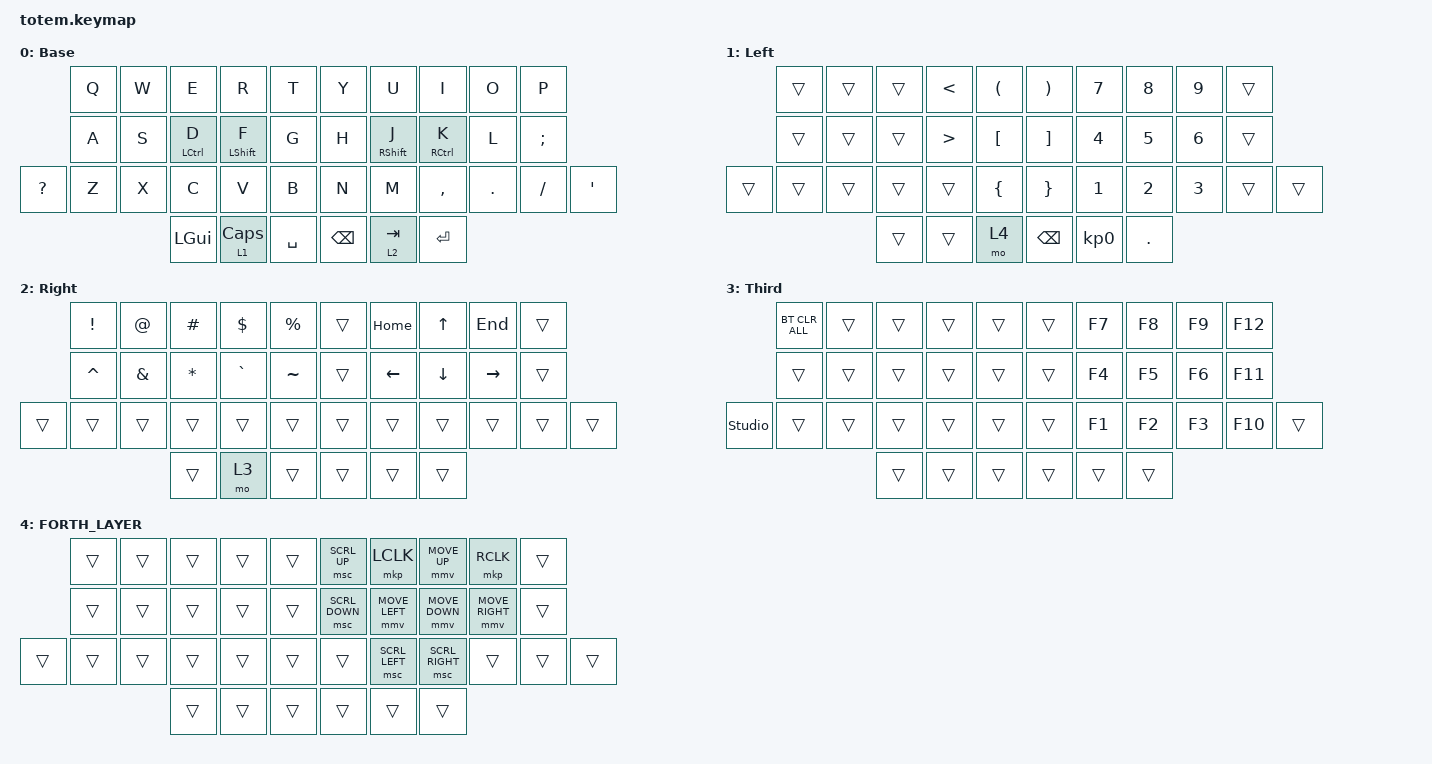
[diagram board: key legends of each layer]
//
//                                                        ▀▀▀▀▀     ▀▀▀▀▀          ▀▀█▀▀
//                                                        ▄▀▀▀▄  ▄  ▄▀▀▀▄  ▄  ▄▀▀▀▄  █  ▄▀▀▀▄
//                                                        █   █  █  █   █  █  █   █  █  █   █
//                                                         ▀▀▀   █   ▀▀▀   █   ▀▀▀   ▀   ▀▀▀
//                                                               █      ▄▄▄█▄▄▄    █   █  
//                                                               ▀      █  █  █     █▄█
//                                                             ▀▀▀▀▀    █  █  █      ▀
//                                                                      ▀  ▀  ▀
//
// ▄▄▄▄▄▄▄▄▄▄▄▄▄▄▄▄▄▄▄▄▄▄▄▄▄▄▄▄▄▄▄▄▄▄▄▄▄▄▄▄▄▄▄▄▄▄▄▄▄▄▄▄▄▄▄▄▄▄▄▄▄▄▄▄▄▄▄▄▄▄▄▄▄▄▄▄▄▄▄▄▄▄▄▄▄▄▄▄▄▄▄▄▄▄▄▄▄▄▄▄▄▄▄▄▄▄▄▄▄▄▄▄▄▄▄▄▄▄▄▄▄▄▄▄▄▄▄▄▄▄▄▄▄▄▄▄▄▄▄▄▄▄▄▄▄▄▄▄▄

#include <behaviors.dtsi>
#include <dt-bindings/zmk/bt.h>
#include <dt-bindings/zmk/keys.h>
#include <dt-bindings/zmk/pointing.h>

#define BASE 0
#define NAV  1
#define SYM  2
#define ADJ  3

&mt {
    quick-tap-ms = <150>;
    global-quick-tap;
    flavor = "balanced";
    tapping-term-ms = <250>;
    require-prior-idle-ms = <150>;
};

/ {
    combos {
        compatible = "zmk,combos";

        combo_esc {
            timeout-ms = <50>;
            key-positions = <2 1>;
            bindings = <&kp ESC>;
            layers = <0>;
        };

        combo_ctl_c {
            bindings = <&kp LC(C)>;
            key-positions = <3 2>;
            layers = <0>;
        };

        combo_ctl_x {
            bindings = <&kp LC(X)>;
            key-positions = <13 12>;
            layers = <0>;
        };

        combo_ctl_v {
            bindings = <&kp LC(V)>;
            key-positions = <24 23>;
            layers = <0>;
        };

        cb_numpad_equal {
            bindings = <&kp EQUAL>;
            key-positions = <27 28>;
            layers = <1>;
        };

        cb_numpad_plus {
            bindings = <&kp PLUS>;
            key-positions = <6 7>;
            layers = <1>;
        };

        cb_numpad_minus {
            bindings = <&kp MINUS>;
            key-positions = <16 17>;
            layers = <1>;
        };

        cb_numpad_multiply {
            bindings = <&kp ASTERISK>;
            key-positions = <7 8>;
            layers = <1>;
        };

        cb_numpad_divide {
            bindings = <&kp SLASH>;
            key-positions = <17 18>;
            layers = <1>;
        };
    };

    macros {
        gif: gif {
            label = "giphy";
            compatible = "zmk,behavior-macro";
            #binding-cells = <0>;
            bindings =
                <&macro_press>,
                <&kp LSHFT>,
                <&macro_tap>,
                <&kp N2>,
                <&macro_release>,
                <&kp LSHFT>,
                <&macro_tap>,
                <&kp G &kp I &kp F>;
        };
    };

    keymap {
        compatible = "zmk,keymap";

        // ▄▄▄▄▄▄▄▄▄▄▄▄▄▄▄▄▄▄▄▄▄▄▄▄▄▄▄▄▄▄▄▄▄▄▄▄▄▄▄▄▄▄▄▄▄▄▄▄▄▄▄▄▄▄▄▄▄▄▄▄▄▄▄▄▄▄▄▄▄▄▄▄▄▄▄▄▄▄▄▄▄▄▄▄▄▄▄▄▄▄▄▄▄▄▄▄▄▄▄▄▄▄▄▄▄▄▄▄▄▄▄▄▄▄▄▄▄▄▄▄▄▄▄▄▄▄▄▄▄▄▄▄▄▄▄▄▄▄▄▄▄▄▄▄▄▄▄▄▄

        Layer_Base {
            // ┏━━━━━━━━━━━━━━━━━━━━━━━━━━━━━━━━━━━━━━━┓

            label = "Base";

            // ┗━━━━━━━━━━━━━━━━━━━━━━━━━━━━━━━━━━━━━━━┛
            //             ┏━━━━━━━━━━━┳━━━━━━━━━━━┳━━━━━━━━━━━┳━━━━━━━━━━━┳━━━━━━━━━━━┓   ┏━━━━━━━━━━━┳━━━━━━━━━━━┳━━━━━━━━━━━┳━━━━━━━━━━━┳━━━━━━━━━━━┓
            //             ┃     Q     ┃     W     ┃     F     ┃     P     ┃     G     ┃   ┃     J     ┃     L     ┃     U     ┃     Y     ┃     ;     ┃
            //             ┣━━━━━━━━━━━╋━━━━━━━━━━━╋━━━━━━━━━━━╋━━━━━━━━━━━╋━━━━━━━━━━━┫   ┣━━━━━━━━━━━╋━━━━━━━━━━━╋━━━━━━━━━━━╋━━━━━━━━━━━╋━━━━━━━━━━━┫
            //             ┃     A     ┃     R     ┃     S     ┃     T     ┃     D     ┃   ┃     H     ┃     N     ┃     E     ┃     I     ┃     O     ┃
            // ┏━━━━━━━━━━━╋━━━━━━━━━━━╋━━━━━━━━━━━╋━━━━━━━━━━━╋━━━━━━━━━━━╋━━━━━━━━━━━┫   ┣━━━━━━━━━━━╋━━━━━━━━━━━╋━━━━━━━━━━━╋━━━━━━━━━━━╋━━━━━━━━━━━╋━━━━━━━━━━━┓
            // ┃           ┃     Z     ┃     X     ┃     C     ┃     V     ┃     B     ┃   ┃     K     ┃     M     ┃     ,     ┃     .     ┃     /     ┃           ┃
            // ┗━━━━━━━━━━━┻━━━━━━━━━━━┻━━━━━━━━━━━╋━━━━━━━━━━━╋━━━━━━━━━━━╋━━━━━━━━━━━┫   ┣━━━━━━━━━━━╋━━━━━━━━━━━╋━━━━━━━━━━━╋━━━━━━━━━━━┻━━━━━━━━━━━┻━━━━━━━━━━━┛
            //                                     ┃           ┃    TAB    ┃    SPC    ┃   ┃   ENTER   ┃   BSPC    ┃           ┃
            //                                     ┗━━━━━━━━━━━┻━━━━━━━━━━━┻━━━━━━━━━━━┛   ┗━━━━━━━━━━━┻━━━━━━━━━━━┻━━━━━━━━━━━┛

            bindings = <
              &kp Q  &kp W  &kp E         &kp R           &kp T        &kp Y          &kp U        &kp I        &kp O    &kp P
              &kp A  &kp S  &mt LCTRL D   &mt LSHFT F     &kp G        &kp H          &mt RSHFT J  &mt RCTRL K  &kp L    &kp SEMICOLON
&kp QUESTION  &kp Z  &kp X  &kp C         &kp V           &kp B        &kp N          &kp M        &kp COMMA    &kp DOT  &kp SLASH      &kp SINGLE_QUOTE
                            &kp LEFT_GUI  &lt 1 CAPSLOCK  &kp SPACE    &kp BACKSPACE  &lt 2 TAB    &kp ENTER
            >;
        };

        // ▄▄▄▄▄▄▄▄▄▄▄▄▄▄▄▄▄▄▄▄▄▄▄▄▄▄▄▄▄▄▄▄▄▄▄▄▄▄▄▄▄▄▄▄▄▄▄▄▄▄▄▄▄▄▄▄▄▄▄▄▄▄▄▄▄▄▄▄▄▄▄▄▄▄▄▄▄▄▄▄▄▄▄▄▄▄▄▄▄▄▄▄▄▄▄▄▄▄▄▄▄▄▄▄▄▄▄▄▄▄▄▄▄▄▄▄▄▄▄▄▄▄▄▄▄▄▄▄▄▄▄▄▄▄▄▄▄▄▄▄▄▄▄▄▄▄▄▄▄

        LAYER_LEFT {
            // ┏━━━━━━━━━━━━━━━━━━━━━━━━━━━━━━━━━━━━━━━┓

            label = "Left";

            // ┗━━━━━━━━━━━━━━━━━━━━━━━━━━━━━━━━━━━━━━━┛
            //             ┏━━━━━━━━━━━┳━━━━━━━━━━━┳━━━━━━━━━━━┳━━━━━━━━━━━┳━━━━━━━━━━━┓   ┏━━━━━━━━━━━┳━━━━━━━━━━━┳━━━━━━━━━━━┳━━━━━━━━━━━┳━━━━━━━━━━━┓
            //             ┃           ┃           ┃     UP    ┃           ┃     {     ┃   ┃     }     ┃     7     ┃     8     ┃     9     ┃     +     ┃
            //             ┣━━━━━━━━━━━╋━━━━━━━━━━━╋━━━━━━━━━━━╋━━━━━━━━━━━╋━━━━━━━━━━━┫   ┣━━━━━━━━━━━╋━━━━━━━━━━━╋━━━━━━━━━━━╋━━━━━━━━━━━╋━━━━━━━━━━━┫
            //             ┃   SHIFT   ┃   LEFT    ┃    DOWN   ┃   RIGHT   ┃     [     ┃   ┃     ]     ┃     4     ┃     5     ┃     6     ┃     -     ┃
            // ┏━━━━━━━━━━━╋━━━━━━━━━━━╋━━━━━━━━━━━╋━━━━━━━━━━━╋━━━━━━━━━━━╋━━━━━━━━━━━┫   ┣━━━━━━━━━━━╋━━━━━━━━━━━╋━━━━━━━━━━━╋━━━━━━━━━━━╋━━━━━━━━━━━╋━━━━━━━━━━━┓
            // ┃           ┃           ┃   P UP    ┃  C LOCK   ┃  P DOWN   ┃     (     ┃   ┃     )     ┃     1     ┃     2     ┃     3     ┃     *     ┃           ┃
            // ┗━━━━━━━━━━━┻━━━━━━━━━━━┻━━━━━━━━━━━╋━━━━━━━━━━━╋━━━━━━━━━━━╋━━━━━━━━━━━┫   ┣━━━━━━━━━━━╋━━━━━━━━━━━╋━━━━━━━━━━━╋━━━━━━━━━━━┻━━━━━━━━━━━┻━━━━━━━━━━━┛
            //                                     ┃           ┃    TAB    ┃    SPC    ┃   ┃    DEL    ┃     0     ┃           ┃
            //                                     ┗━━━━━━━━━━━┻━━━━━━━━━━━┻━━━━━━━━━━━┛   ┗━━━━━━━━━━━┻━━━━━━━━━━━┻━━━━━━━━━━━┛

            bindings = <
        &trans  &trans  &trans  &kp LESS_THAN     &kp LEFT_PARENTHESIS    &kp RIGHT_PARENTHESIS  &kp N7     &kp N8      &kp N9  &trans
        &trans  &trans  &trans  &kp GREATER_THAN  &kp LBKT                &kp RBKT               &kp N4     &kp N5      &kp N6  &trans
&trans  &trans  &trans  &trans  &trans            &kp LEFT_BRACE          &kp RIGHT_BRACE        &kp N1     &kp N2      &kp N3  &trans  &trans
                        &trans  &trans            &mo 4                   &kp BACKSPACE          &kp KP_N0  &kp PERIOD
            >;
        };

        // ▄▄▄▄▄▄▄▄▄▄▄▄▄▄▄▄▄▄▄▄▄▄▄▄▄▄▄▄▄▄▄▄▄▄▄▄▄▄▄▄▄▄▄▄▄▄▄▄▄▄▄▄▄▄▄▄▄▄▄▄▄▄▄▄▄▄▄▄▄▄▄▄▄▄▄▄▄▄▄▄▄▄▄▄▄▄▄▄▄▄▄▄▄▄▄▄▄▄▄▄▄▄▄▄▄▄▄▄▄▄▄▄▄▄▄▄▄▄▄▄▄▄▄▄▄▄▄▄▄▄▄▄▄▄▄▄▄▄▄▄▄▄▄▄▄▄▄▄▄

        LAYER_RIGHT {
            // ┏━━━━━━━━━━━━━━━━━━━━━━━━━━━━━━━━━━━━━━━┓

            label = "Right";

            // ┗━━━━━━━━━━━━━━━━━━━━━━━━━━━━━━━━━━━━━━━┛
            //             ┏━━━━━━━━━━━┳━━━━━━━━━━━┳━━━━━━━━━━━┳━━━━━━━━━━━┳━━━━━━━━━━━┓   ┏━━━━━━━━━━━┳━━━━━━━━━━━┳━━━━━━━━━━━┳━━━━━━━━━━━┳━━━━━━━━━━━┓
            //             ┃     !     ┃     @     ┃     #     ┃     $     ┃     %     ┃   ┃     ˆ     ┃     &     ┃     Ü     ┃     '     ┃     "     ┃
            //             ┣━━━━━━━━━━━╋━━━━━━━━━━━╋━━━━━━━━━━━╋━━━━━━━━━━━╋━━━━━━━━━━━┫   ┣━━━━━━━━━━━╋━━━━━━━━━━━╋━━━━━━━━━━━╋━━━━━━━━━━━╋━━━━━━━━━━━┫
            //             ┃     Ä     ┃           ┃    SZ     ┃           ┃           ┃   ┃   MUTE    ┃   YEN     ┃   EURO    ┃  POUND    ┃     Ö     ┃
            // ┏━━━━━━━━━━━╋━━━━━━━━━━━╋━━━━━━━━━━━╋━━━━━━━━━━━╋━━━━━━━━━━━╋━━━━━━━━━━━┫   ┣━━━━━━━━━━━╋━━━━━━━━━━━╋━━━━━━━━━━━╋━━━━━━━━━━━╋━━━━━━━━━━━╋━━━━━━━━━━━┓
            // ┃           ┃  EMAIL1   ┃  EMAIL2   ┃           ┃           ┃           ┃   ┃   VOL-    ┃   VOL+    ┃   LAST    ┃   NEXT    ┃     \     ┃           ┃
            // ┗━━━━━━━━━━━┻━━━━━━━━━━━┻━━━━━━━━━━━╋━━━━━━━━━━━╋━━━━━━━━━━━╋━━━━━━━━━━━┫   ┣━━━━━━━━━━━╋━━━━━━━━━━━╋━━━━━━━━━━━╋━━━━━━━━━━━┻━━━━━━━━━━━┻━━━━━━━━━━━┛
            //                                     ┃           ┃    GIF    ┃    ADJ    ┃   ┃           ┃           ┃           ┃
            //                                     ┗━━━━━━━━━━━┻━━━━━━━━━━━┻━━━━━━━━━━━┛   ┗━━━━━━━━━━━┻━━━━━━━━━━━┻━━━━━━━━━━━┛

            bindings = <
        &kp EXCL   &kp AT         &kp HASH      &kp DLLR   &kp PRCNT    &trans  &kp HOME  &kp UP    &kp END    &trans
        &kp CARET  &kp AMPERSAND  &kp ASTERISK  &kp GRAVE  &kp TILDE    &trans  &kp LEFT  &kp DOWN  &kp RIGHT  &trans
&trans  &trans     &trans         &trans        &trans     &trans       &trans  &trans    &trans    &trans     &trans  &trans
                                  &trans        &mo 3      &trans       &trans  &trans    &trans
            >;
        };

        // ▄▄▄▄▄▄▄▄▄▄▄▄▄▄▄▄▄▄▄▄▄▄▄▄▄▄▄▄▄▄▄▄▄▄▄▄▄▄▄▄▄▄▄▄▄▄▄▄▄▄▄▄▄▄▄▄▄▄▄▄▄▄▄▄▄▄▄▄▄▄▄▄▄▄▄▄▄▄▄▄▄▄▄▄▄▄▄▄▄▄▄▄▄▄▄▄▄▄▄▄▄▄▄▄▄▄▄▄▄▄▄▄▄▄▄▄▄▄▄▄▄▄▄▄▄▄▄▄▄▄▄▄▄▄▄▄▄▄▄▄▄▄▄▄▄▄▄▄▄

        THIRD_LAYER {
            // ┏━━━━━━━━━━━━━━━━━━━━━━━━━━━━━━━━━━━━━━━┓

            label = "Third";

            // ┗━━━━━━━━━━━━━━━━━━━━━━━━━━━━━━━━━━━━━━━┛
            //             ┏━━━━━━━━━━━┳━━━━━━━━━━━┳━━━━━━━━━━━┳━━━━━━━━━━━┳━━━━━━━━━━━┓   ┏━━━━━━━━━━━┳━━━━━━━━━━━┳━━━━━━━━━━━┳━━━━━━━━━━━┳━━━━━━━━━━━┓
            //             ┃   RESET   ┃ BT CLEAR  ┃  OUT TOG  ┃           ┃           ┃   ┃           ┃    F7     ┃    F8     ┃    F9     ┃    F12    ┃
            //             ┣━━━━━━━━━━━╋━━━━━━━━━━━╋━━━━━━━━━━━╋━━━━━━━━━━━╋━━━━━━━━━━━┫   ┣━━━━━━━━━━━╋━━━━━━━━━━━╋━━━━━━━━━━━╋━━━━━━━━━━━╋━━━━━━━━━━━┫
            //             ┃ BOOTLOAD  ┃ BT NEXT   ┃           ┃           ┃           ┃   ┃           ┃    F4     ┃    F5     ┃    F6     ┃    F11    ┃
            // ┏━━━━━━━━━━━╋━━━━━━━━━━━╋━━━━━━━━━━━╋━━━━━━━━━━━╋━━━━━━━━━━━╋━━━━━━━━━━━┫   ┣━━━━━━━━━━━╋━━━━━━━━━━━╋━━━━━━━━━━━╋━━━━━━━━━━━╋━━━━━━━━━━━╋━━━━━━━━━━━┓
            // ┃           ┃           ┃ BT PREV   ┃           ┃           ┃           ┃   ┃           ┃    F1     ┃    F2     ┃    F3     ┃    F10    ┃           ┃
            // ┗━━━━━━━━━━━┻━━━━━━━━━━━┻━━━━━━━━━━━╋━━━━━━━━━━━╋━━━━━━━━━━━╋━━━━━━━━━━━┫   ┣━━━━━━━━━━━╋━━━━━━━━━━━╋━━━━━━━━━━━╋━━━━━━━━━━━┻━━━━━━━━━━━┻━━━━━━━━━━━┛
            //                                     ┃           ┃           ┃           ┃   ┃           ┃           ┃           ┃
            //                                     ┗━━━━━━━━━━━┻━━━━━━━━━━━┻━━━━━━━━━━━┛   ┗━━━━━━━━━━━┻━━━━━━━━━━━┻━━━━━━━━━━━┛

            bindings = <
                &bt BT_CLR_ALL  &trans  &trans  &trans  &trans    &trans  &kp F7  &kp F8  &kp F9  &kp F12
                &trans          &trans  &trans  &trans  &trans    &trans  &kp F4  &kp F5  &kp F6  &kp F11
&studio_unlock  &trans          &trans  &trans  &trans  &trans    &trans  &kp F1  &kp F2  &kp F3  &kp F10  &trans
                                        &trans  &trans  &trans    &trans  &trans  &trans
            >;
        };

        FORTH_LAYER {
            bindings = <
        &trans  &trans  &trans  &trans  &trans    &msc SCRL_UP    &mkp LCLK       &mmv MOVE_UP     &mkp RCLK        &trans
        &trans  &trans  &trans  &trans  &trans    &msc SCRL_DOWN  &mmv MOVE_LEFT  &mmv MOVE_DOWN   &mmv MOVE_RIGHT  &trans
&trans  &trans  &trans  &trans  &trans  &trans    &trans          &msc SCRL_LEFT  &msc SCRL_RIGHT  &trans           &trans  &trans
                        &trans  &trans  &trans    &trans          &trans          &trans
            >;
        };
    };
};
